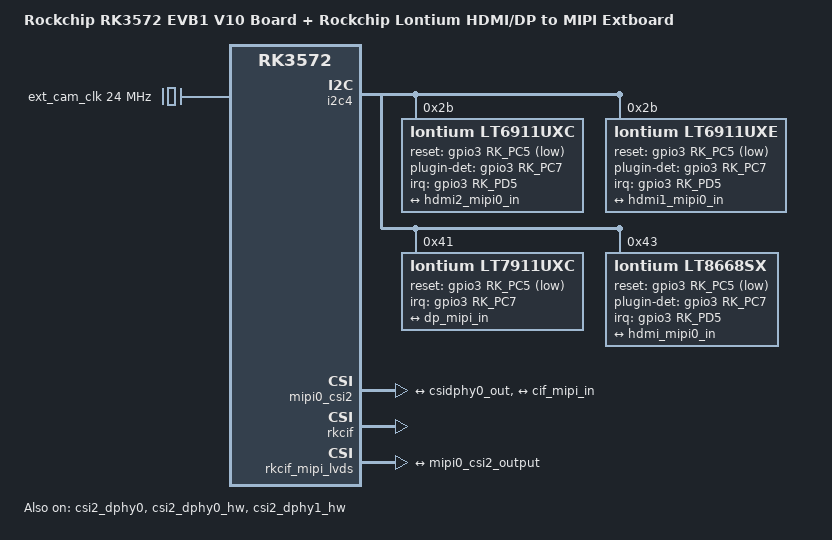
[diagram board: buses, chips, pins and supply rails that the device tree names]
// SPDX-License-Identifier: (GPL-2.0+ OR MIT)
/*
 * Copyright (c) 2026 Rockchip Electronics Co., Ltd.
 *
 */

/dts-v1/;

#include "rk3572-evb1-v10.dtsi"
#include "rk3572-android.dtsi"

/ {
	model = "Rockchip RK3572 EVB1 V10 Board + Rockchip Lontium HDMI/DP to MIPI Extboard";
	compatible = "rockchip,rk3572-evb1-v10", "rockchip,rk3572";

	ext_cam_clk: external-camera-clock {
		compatible = "fixed-clock";
		clock-frequency = <24000000>;
		clock-output-names = "CLK_CAMERA_24MHZ";
		#clock-cells = <0>;
	};

	rkvtunnel: rkvtunnel {
		compatible = "rockchip,video-tunnel";
		status = "okay";
	};
};

&csi2_dphy0 {
	status = "okay";

	ports {
		#address-cells = <1>;
		#size-cells = <0>;
		port@0 {
			reg = <0>;
			#address-cells = <1>;
			#size-cells = <0>;

			dp_mipi_in: endpoint@1 {
				reg = <1>;
				remote-endpoint = <&lt7911uxc_out>;
				data-lanes = <1 2 3 4>;
			};

			hdmi_mipi0_in: endpoint@2 {
				reg = <2>;
				remote-endpoint = <&lt8668sx_out0>;
				data-lanes = <1 2 3 4>;
			};

			hdmi1_mipi0_in: endpoint@3 {
				reg = <3>;
				remote-endpoint = <&lt6911uxe_out0>;
				data-lanes = <1 2 3 4>;
			};

			hdmi2_mipi0_in: endpoint@4 {
				reg = <4>;
				remote-endpoint = <&lt6911uxc_out0>;
				data-lanes = <1 2 3 4>;
			};
		};

		port@1 {
			reg = <1>;
			#address-cells = <1>;
			#size-cells = <0>;

			csidphy0_out: endpoint@0 {
				reg = <0>;
				remote-endpoint = <&mipi0_csi2_input>;
			};
		};
	};
};

&csi2_dphy0_hw {
	status = "okay";
};

&csi2_dphy1_hw {
	status = "okay";
};

&i2c4 {
	status = "okay";
	pinctrl-0 = <&i2c4m3_xfer_pins>;

	lt6911uxc: lt6911uxc@2b {
		compatible = "lontium,lt6911uxc";
		status = "okay";
		reg = <0x2b>;
		clocks = <&ext_cam_clk>;
		clock-names = "xvclk";
		power-domains = <&power RK3572_PD_VI>;
		pinctrl-names = "default";
		pinctrl-0 = <&hdmiin_port0>;
		interrupt-parent = <&gpio3>;
		interrupts = <RK_PD5 IRQ_TYPE_LEVEL_LOW>;
		reset-gpios = <&gpio3 RK_PC5 GPIO_ACTIVE_LOW>;
		plugin-det-gpios = <&gpio3 RK_PC7 GPIO_ACTIVE_HIGH>;
		rockchip,camera-module-index = <0>;
		rockchip,camera-module-facing = "back";
		rockchip,camera-module-name = "HDMI-MIPI";
		rockchip,camera-module-lens-name = "LT6911UXC";

		multi-dev-info {
			dev-idx-l = <0>;
			dev-idx-r = <2>;
			combine-idx = <0>;
			pixel-offset = <0>;
			dev-num = <2>;
		};

		port {
			lt6911uxc_out0: endpoint {
				remote-endpoint = <&hdmi2_mipi0_in>;
				data-lanes = <1 2 3 4>;
			};
		};
	};

	lt6911uxe: lt6911uxe@2b {
		compatible = "lontium,lt6911uxe";
		status = "okay";
		reg = <0x2b>;
		clocks = <&ext_cam_clk>;
		clock-names = "xvclk";
		power-domains = <&power RK3572_PD_VI>;
		pinctrl-names = "default";
		pinctrl-0 = <&hdmiin_port0>;
		interrupt-parent = <&gpio3>;
		interrupts = <RK_PD5 IRQ_TYPE_LEVEL_LOW>;
		reset-gpios = <&gpio3 RK_PC5 GPIO_ACTIVE_LOW>;
		plugin-det-gpios = <&gpio3 RK_PC7 GPIO_ACTIVE_HIGH>;
		rockchip,camera-module-index = <0>;
		rockchip,camera-module-facing = "back";
		rockchip,camera-module-name = "HDMI-MIPI0";
		rockchip,camera-module-lens-name = "LT6911UXE";

		port {
			lt6911uxe_out0: endpoint {
				remote-endpoint = <&hdmi1_mipi0_in>;
				data-lanes = <1 2 3 4>;
			};
		};
	};

	lt7911uxc: lt7911uxc@41 {
		compatible = "lontium,lt7911uxc";
		status = "okay";
		reg = <0x41>;
		clocks = <&ext_cam_clk>;
		clock-names = "xvclk";
		power-domains = <&power RK3572_PD_VI>;
		pinctrl-names = "default";
		pinctrl-0 = <&hdmiin_port0>;
		interrupt-parent = <&gpio3>;
		interrupts = <RK_PC7 IRQ_TYPE_EDGE_RISING>;
		reset-gpios = <&gpio3 RK_PC5 GPIO_ACTIVE_LOW>;
		// power-gpios = <&gpio1 RK_PA6 GPIO_ACTIVE_HIGH>;
		// plugin-det-gpios = <&gpio0 RK_PD6 GPIO_ACTIVE_LOW>;
		rockchip,camera-module-index = <0>;
		rockchip,camera-module-facing = "back";
		rockchip,camera-module-name = "HDMI-MIPI0";
		rockchip,camera-module-lens-name = "LT7911UXC";

		port {
			lt7911uxc_out: endpoint {
				remote-endpoint = <&dp_mipi_in>;
				data-lanes = <1 2 3 4>;
			};
		};
	};

	lt8668sx: lt8668sx@43 {
		compatible = "lontium,lt8668sx";
		status = "okay";
		reg = <0x43>;
		clocks = <&ext_cam_clk>;
		clock-names = "xvclk";
		power-domains = <&power RK3572_PD_VI>;
		pinctrl-names = "default";
		pinctrl-0 = <&hdmiin_port0>;
		interrupt-parent = <&gpio3>;
		interrupts = <RK_PD5 IRQ_TYPE_EDGE_RISING>;
		reset-gpios = <&gpio3 RK_PC5 GPIO_ACTIVE_LOW>;
		plugin-det-gpios = <&gpio3 RK_PC7 GPIO_ACTIVE_HIGH>;
		rockchip,camera-module-index = <0>;
		rockchip,camera-module-facing = "back";
		rockchip,camera-module-name = "HDMI-MIPI0";
		rockchip,camera-module-lens-name = "LT8668SX";
		// output-rgb = <1>;

		port {
			lt8668sx_out0: endpoint {
				remote-endpoint = <&hdmi_mipi0_in>;
				data-lanes = <1 2 3 4>;
			};
		};
	};
};

&mipi0_csi2 {
	status = "okay";

	ports {
		#address-cells = <1>;
		#size-cells = <0>;

		port@0 {
			reg = <0>;
			#address-cells = <1>;
			#size-cells = <0>;

			mipi0_csi2_input: endpoint@1 {
				reg = <1>;
				remote-endpoint = <&csidphy0_out>;
			};
		};

		port@1 {
			reg = <1>;
			#address-cells = <1>;
			#size-cells = <0>;

			mipi0_csi2_output: endpoint@0 {
				reg = <0>;
				remote-endpoint = <&cif_mipi_in>;
			};
		};
	};
};

&rkcif {
	status = "okay";
};

&rkcif_mipi_lvds {
	status = "okay";

	port {
		cif_mipi_in: endpoint {
			remote-endpoint = <&mipi0_csi2_output>;
		};
	};
};

&rkcif_mmu {
	status = "okay";
};

&vcc_mipicsi0 {
	/delete-property/ gpio;
	/delete-property/ pinctrl-0;
};

&vcc_mipicsi1 {
	/delete-property/ gpio;
	/delete-property/ pinctrl-0;
};

&pinctrl {
	hdmiin {
		hdmiin_port0: hdmiin-port0 {
			rockchip,pins = <3 RK_PC5 RK_FUNC_GPIO &pcfg_pull_none>,
					<3 RK_PC7 RK_FUNC_GPIO &pcfg_pull_none>,
					<3 RK_PD5 RK_FUNC_GPIO &pcfg_pull_none>;
		};
	};
};
